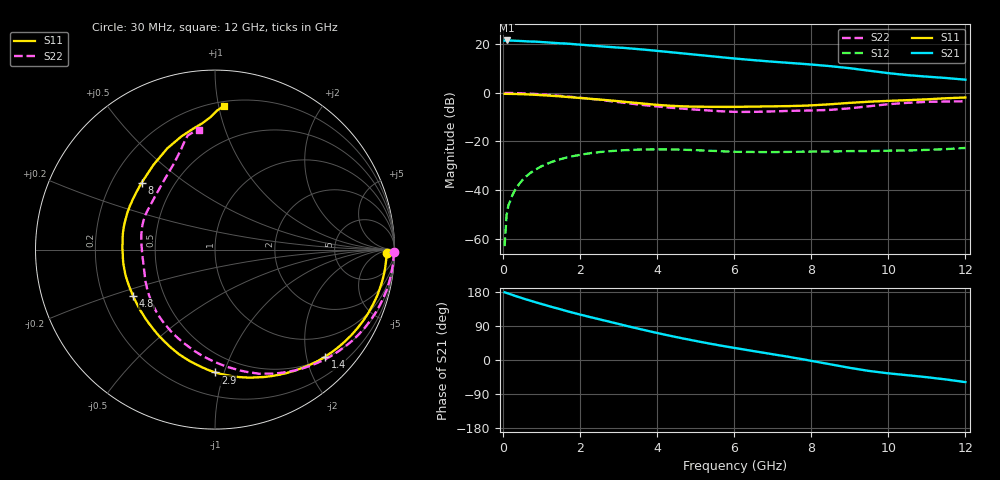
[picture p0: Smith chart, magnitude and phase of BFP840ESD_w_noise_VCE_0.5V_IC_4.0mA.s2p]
! Infineon Technologies  Discrete & RF Semiconductors
! BFP840ESD
! VCE =  0.5 V,  IC =  4.0 mA
! Common Emitter S-Parameters:  May 2012
# GHz  S  MA  R  50
!  f  S11  S21  S12  S22
! GHz  MAG  ANG  MAG  ANG  MAG  ANG  MAG  ANG
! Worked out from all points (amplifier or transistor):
!   93 points, 30 MHz to 12 GHz, reference 50 ohm
!   highest |S21| = 21.6 dB at 80 MHz (marker M1)
!   |S21| within 3 dB of that: start of sweep to 3.055 GHz
!   unconditionally stable (mu >= 1): 6.42 GHz to 11.33 GHz
!   at 1.1 GHz: K = 0.16, MSG = 25.1 dB, |S12| = -29.4 dB
!   at 4.2 GHz: K = 0.54, MSG = 20.1 dB, |S12| = -23.3 dB
!   at 12 GHz: K = 0.86, MSG = 14.1 dB, |S12| = -22.7 dB
!   lowest NFmin = 0.52 dB at 450 MHz
!   S11 on the Smith chart (normalised r, x): 30 MHz: 39, -15; 1.4 GHz: 0.53, -2.36; 2.9 GHz: 0.36, -0.93; 4.8 GHz: 0.33, -0.24; 8 GHz: 0.33, +0.35; 12 GHz: 0.23, +1.04
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0.03  0.9565 -1.0  11.93 178.7  0.0007 47.9  0.9947 -0.8
0.08  0.9562 -2.5  11.99 176.9  0.003 102.4  0.9954 -2.4
0.28  0.9501 -9.2  11.85 170.0  0.0094 81.1  0.9902 -8.7
0.5  0.9388 -16.2  11.63 162.7  0.0163 77.0  0.9769 -15.6
0.8  0.9158 -25.7  11.36 153.4  0.0254 68.8  0.9509 -24.7
1.1  0.8873 -35.1  10.98 144.6  0.0338 61.4  0.9177 -33.6
1.4  0.8561 -44.3  10.57 136.1  0.0415 54.7  0.8786 -42.3
1.7  0.8189 -53.6  10.25 127.6  0.0478 47.9  0.8356 -50.9
2.1  0.7731 -65.6  9.681 117.2  0.055 39.7  0.778 -62.0
2.5  0.7291 -77.5  9.127 107.2  0.0605 32.0  0.719 -72.8
2.9  0.6846 -89.9  8.653 97.4  0.0644 25.2  0.658 -83.8
3.4  0.6262 -105.8  8.079 85.1  0.0675 17.3  0.5903 -98.1
4.1  0.5589 -128.5  7.18 68.9  0.0689 7.5  0.5159 -118.8
4.8  0.5242 -150.6  6.33 54.2  0.067 -0.3  0.4642 -138.0
5.4  0.5169 -167.4  5.68 42.5  0.0643 -5.0  0.4302 -152.8
6.1  0.5161 176.6  5.023 30.2  0.0612 -7.2  0.4065 -169.4
7.2  0.531 154.9  4.268 11.8  0.0608 -8.8  0.4203 167.0
8  0.5531 137.6  3.831 -2.3  0.0619 -10.7  0.4344 150.2
8.5  0.5836 126.0  3.542 -11.5  0.0623 -12.0  0.447 138.1
9.5  0.6581 106.5  2.857 -28.9  0.0635 -14.7  0.5313 115.5
10.5  0.7083 95.6  2.315 -40.2  0.0653 -16.3  0.6247 105.8
12  0.8042 86.3  1.868 -58.3  0.0735 -18.7  0.671 97.4
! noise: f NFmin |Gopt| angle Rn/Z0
0.45  0.52  0.53  2  0.24
0.9  0.54  0.52  6  0.23
1.5  0.57  0.52  16  0.19
1.9  0.61  0.5  18  0.18
2.4  0.64  0.46  32  0.16
3.5  0.7  0.36  58  0.13
5.5  0.85  0.26  115  0.1
8  1.05  0.38  -147  0.06
10  1.25  0.52  -105  0.16
12  1.49  0.58  -82  0.27
